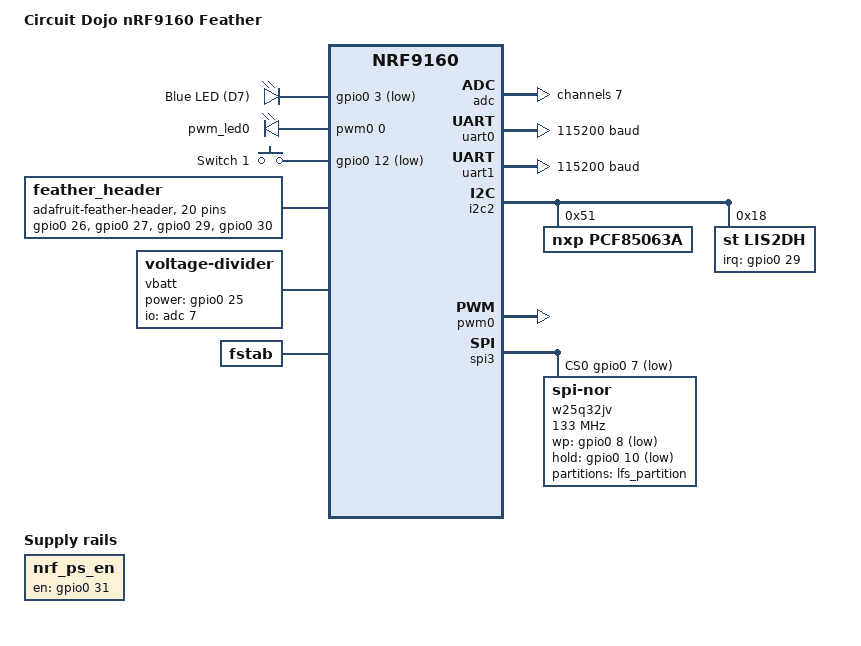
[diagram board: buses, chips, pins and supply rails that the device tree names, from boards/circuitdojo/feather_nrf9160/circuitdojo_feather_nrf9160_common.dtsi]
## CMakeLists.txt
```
#
# Copyright (c) 2020 Nordic Semiconductor
#
# SPDX-License-Identifier: LicenseRef-Nordic-5-Clause
#

cmake_minimum_required(VERSION 3.20.0)

set(CMAKE_EXPORT_COMPILE_COMMANDS ON)

find_package(Zephyr REQUIRED HINTS $ENV{ZEPHYR_BASE})
project(https_client)

# Generate hex files from pem files
set(gen_dir ${CMAKE_CURRENT_BINARY_DIR}/certs)
zephyr_include_directories(${gen_dir})
generate_inc_file_for_target(
    app
    cert/ngens.pem
    ${gen_dir}/ngens.pem.inc   #loaded with google cert
    # cert/webhook_RootCA.pem
    # ${gen_dir}/webhook_RootCA.pem.inc   #loaded with google cert
    )

FILE(GLOB app_sources src/*.c src/*.h)
target_sources(app PRIVATE ${app_sources})
```

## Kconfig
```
#
# Copyright (c) 2021 Nordic Semiconductor ASA
#
# SPDX-License-Identifier: LicenseRef-Nordic-5-Clause
#

menu "HTTPS client sample"

config WATCHDOG_APPLICATION_TIMEOUT_SEC
	int "Application watchdog timeout in seconds"
	default 10
	help 
	  Should be more than 1 second

config SAMPLE_TFM_MBEDTLS
	bool "Use TF-M and MbedTLS"
	depends on NRF_MODEM_LIB
	help
	  Use TF-M and MbedTLS in this sample instead of using
	  the offloaded TLS stack in the modem.
	  
endmenu

menu "Zephyr Kernel"
source "Kconfig.zephyr"
endmenu
```

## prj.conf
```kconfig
# General
CONFIG_HEAP_MEM_POOL_SIZE=4096
CONFIG_MAIN_STACK_SIZE=10240
CONFIG_GPIO=y
CONFIG_ADC=y

# UART
CONFIG_SERIAL=y
CONFIG_UART_INTERRUPT_DRIVEN=y

# Logging
CONFIG_PRINTK=y
CONFIG_LOG=y
CONFIG_LOG_DEFAULT_LEVEL=3
CONFIG_LOG_BUFFER_SIZE=10240
CONFIG_LOG_BACKEND_UART=y

# Network
CONFIG_NETWORKING=y
CONFIG_NET_SOCKETS=y
CONFIG_POSIX_API=y
CONFIG_NET_IPV4=y
CONFIG_NET_IPV6=y
CONFIG_NET_NATIVE=n
CONFIG_PDN_DEFAULTS_OVERRIDE=y
CONFIG_PDN_DEFAULT_FAM_IPV4=y

CONFIG_REBOOT=y

CONFIG_DATE_TIME=y

# eDRX settings 
# CONFIG_LTE_LC_EDRX_MODULE=y
# CONFIG_LTE_EDRX_REQ=y
# CONFIG_LTE_EDRX_REQ_VALUE_LTE_M="0100"
# CONFIG_LTE_PTW_VALUE_LTE_M="0011"

# LTE link control
CONFIG_LTE_LINK_CONTROL=y

CONFIG_WATCHDOG=y

# Modem library
CONFIG_NRF_MODEM_LIB=y

# Modem info
CONFIG_MODEM_INFO=y

CONFIG_MODEM_KEY_MGMT=y

CONFIG_FLASH=y
CONFIG_IMG_MANAGER=y
CONFIG_STREAM_FLASH=y
CONFIG_FLASH_MAP=y
CONFIG_FLASH_LOG_LEVEL_DBG=y
CONFIG_IMG_ERASE_PROGRESSIVELY=y
CONFIG_MPU_ALLOW_FLASH_WRITE=y

# ------------------- NRF FOTA library ------------------ #
# Download client
CONFIG_DOWNLOADER=y
CONFIG_DOWNLOADER_STACK_SIZE=4096
CONFIG_DOWNLOAD_CLIENT=n
# CONFIG_DOWNLOAD_CLIENT=y
CONFIG_DOWNLOAD_CLIENT_STACK_SIZE=4096
CONFIG_FOTA_DOWNLOAD=y
CONFIG_DFU_TARGET=y
CONFIG_ZCBOR=y
# Disable all non-used crypto
CONFIG_OBERON_BACKEND=y
CONFIG_NORDIC_SECURITY_BACKEND=y
CONFIG_MBEDTLS_AES_C=n
CONFIG_MBEDTLS_CHACHA20_C=n
CONFIG_MBEDTLS_POLY1305_C=n
CONFIG_MBEDTLS_ECP_C=n
CONFIG_MBEDTLS_RSA_C=n
CONFIG_MBEDTLS_DHM_C=n
CONFIG_MBEDTLS_SHA1_C=n
CONFIG_MBEDTLS_SHA384_C=n
CONFIG_MBEDTLS_SHA512_C=n
CONFIG_MBEDTLS_GCM_C=n
# This is the one we need
CONFIG_MBEDTLS_SHA256_C=y
# Prevalidation is not yet supported by the modem firmware
CONFIG_FMFU_FDEV_SKIP_PREVALIDATION=y

# Application Upgrade support
CONFIG_BOOTLOADER_MCUBOOT=y
CONFIG_MCUBOOT_UTIL_LOG_LEVEL_WRN=y
```

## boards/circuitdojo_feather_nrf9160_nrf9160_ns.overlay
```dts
&pinctrl {
	/* USB-C is UART0 */
	uart0_default: uart0_default {
		group1 {
			/* configure P0.06 as UART_TX and P0.5 as UART_RX */
			psels = <NRF_PSEL(UART_TX, 0, 6)>, <NRF_PSEL(UART_RX, 0, 5)>;
		};
	};
	uart0_sleep: uart0_sleep {
		group1 {
			/* configure P0.06 as UART_TX and P0.5 as UART_RX */
			psels = <NRF_PSEL(UART_TX, 0, 6)>, <NRF_PSEL(UART_RX, 0, 5)>;
		};
		/* all pins are configured in low power mode */
        low-power-enable;
	};

	/* RG-15 is UART1 */
	uart1_default: uart1_default {
		group1 {
			/* configure P0.24 as UART_TX and P0.23 as UART_RX */
			psels = <NRF_PSEL(UART_TX, 0, 24)>, <NRF_PSEL(UART_RX, 0, 23)>;
		};
	};
	uart1_sleep: uart1_sleep {
		group1 {
			/* configure P0.24 as UART_TX and P0.23 as UART_RX */
			psels = <NRF_PSEL(UART_TX, 0, 24)>, <NRF_PSEL(UART_RX, 0, 23)>;
		};
		low-power-enable;
	};
};

&adc {
	status = "okay";
};

&gpio0 {
	status = "okay";
};

/* USB-C is UART0 */
&uart0 {
	compatible = "nordic,nrf-uarte";
	status = "okay";
	current-speed = < 115200 >;
	pinctrl-0 = < &uart0_default >;
	pinctrl-1 = < &uart0_sleep >;
	pinctrl-names = "default", "sleep";
};

/* RG-15 is UART1 */
&uart1 {
	compatible = "nordic,nrf-uarte";
	status = "okay";
	current-speed = < 9600 >;
	pinctrl-0 = < &uart1_default >;
	pinctrl-1 = < &uart1_sleep >;
	pinctrl-names = "default", "sleep";
};
```

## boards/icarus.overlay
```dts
&sim_select {
	sim = "external";
};

&uart1 {
	current-speed = < 9600 >;
};

&gpio0 {
	status = "okay";
};

&uart0 {
	status = "okay";
};
```

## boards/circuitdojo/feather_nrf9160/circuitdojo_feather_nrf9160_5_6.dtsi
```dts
/*
 * Copyright (c) 2024 Circuit Dojo LLC
 *
 * SPDX-License-Identifier: Apache-2.0
 */

/ {

	leds {
		compatible = "gpio-leds";
		blue_led: led_0 {
			gpios = <&gpio0 3 GPIO_ACTIVE_HIGH>;
			label = "Blue LED (D7)";
		};
	};

	/delete-node/ nrf-ps-en;
};
```

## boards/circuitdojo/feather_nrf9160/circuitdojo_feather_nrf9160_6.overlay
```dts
/*
 * Copyright (c) 2024 Circuit Dojo LLC
 *
 * SPDX-License-Identifier: Apache-2.0
 */

#include "circuitdojo_feather_nrf9160_5_6.dtsi"
```

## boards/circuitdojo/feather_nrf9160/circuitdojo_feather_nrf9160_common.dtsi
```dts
/*
 * Copyright (c) 2018-2020 Nordic Semiconductor ASA
 * Copyright (c) 2020 Circuit Dojo LLC
 *
 * SPDX-License-Identifier: Apache-2.0
 */
#include "circuitdojo_feather_nrf9160_common-pinctrl.dtsi"
#include <zephyr/dt-bindings/input/input-event-codes.h>

/ {
	model = "Circuit Dojo nRF9160 Feather";
	compatible = "circuitdojo,feather-nrf9160";

	chosen {
		zephyr,console = &uart0;
		zephyr,shell-uart = &uart0;
		zephyr,uart-mcumgr = &uart0;
		nordic,modem-trace-uart = &uart1;
		nordic,pm-ext-flash = &w25q32jv;
	};

	leds {
		compatible = "gpio-leds";
		blue_led: led_0 {
			gpios = <&gpio0 3 GPIO_ACTIVE_LOW>;
			label = "Blue LED (D7)";
		};
	};

	pwmleds {
		compatible = "pwm-leds";
		pwm_led0: pwm_led_0 {
			pwms = <&pwm0 0 PWM_MSEC(20) PWM_POLARITY_INVERTED>;
		};
	};

	buttons {
		compatible = "gpio-keys";
		button0: button_0 {
			gpios = <&gpio0 12 (GPIO_PULL_UP | GPIO_ACTIVE_LOW)>;
			label = "Switch 1";
			zephyr,code = <INPUT_KEY_0>;
		};
	};

	/* These aliases are provided for compatibility with samples */
	aliases {
		led0 = &blue_led;
		pwm-led0 = &pwm_led0;
		sw0 = &button0;
		mcuboot-button0 = &button0;
		mcuboot-led0 = &blue_led;
		watchdog0 = &wdt0;
		spi-flash0 = &w25q32jv;
		ext-flash = &w25q32jv;
		accel0 = &lis2dh;
		rtc0 = &pcf85063a;
	};

	/* Used for accessing other pins */
	feather_header: feather_connector {
		compatible = "adafruit-feather-header";
		#gpio-cells = <2>;
		gpio-map-mask = <0xffffffff 0xffffffc0>;
		gpio-map-pass-thru = <0 0x3f>;
		gpio-map = <12 0 &gpio0 26 0>,  /* SDA */
		<13 0 &gpio0 27 0>,  /* SCL */
		<14 0 &gpio0 29 0>,  /* PWM3 */
		<15 0 &gpio0 30 0>,  /* PWM3 */
		<16 0 &gpio0 0 0>,   /* PWM1 */
		<17 0 &gpio0 1 0>,   /* PWM1 */
		<18 0 &gpio0 2 0>,   /* PWM1 */
		<19 0 &gpio0 3 0>,   /* PWM0 */
		<20 0 &gpio0 4 0>,   /* PWM1 */
		/* 11 not connected */
		<10 0 &gpio0 24 0>,  /* TX */
		<9 0 &gpio0 23 0>,   /* RX */
		<8 0 &gpio0 22 0>,   /* MISO */
		<7 0 &gpio0 21 0>,   /* MOSI */
		<6 0 &gpio0 19 0>,   /* SCK */
		<5 0 &gpio0 18 0>,   /* SS */
		<4 0 &gpio0 17 0>,   /* ADC4 = AIN6 */
		<3 0 &gpio0 16 0>,   /* ADC3 = AIN5 */
		<2 0 &gpio0 15 0>,   /* ADC2 = AIN4 */
		<1 0 &gpio0 14 0>,   /* ADC1 = AIN2 */
		<0 0 &gpio0 13 0>;   /* ADC0 = AIN1 */
	};

	nrf-ps-en {
		compatible = "regulator-fixed";
		regulator-name = "nrf_ps_en";
		enable-gpios = <&gpio0 31 GPIO_ACTIVE_HIGH>;
		regulator-boot-on;
	};

	vbatt: vbatt {
		compatible = "voltage-divider";
		io-channels = <&adc 7>;
		output-ohms = <100000>;
		full-ohms = <(100000 + 100000)>;
		power-gpios = <&gpio0 25 GPIO_ACTIVE_HIGH>;
	};

	fstab {
		compatible = "zephyr,fstab";
		lfs: lfs {
			compatible = "zephyr,fstab,littlefs";
			mount-point = "/lfs";
			partition = <&lfs_partition>;
			read-size = <16>;
			prog-size = <16>;
			cache-size = <64>;
			lookahead-size = <32>;
			block-cycles = <512>;
			automount;
		};
	};
};

&adc {
	status = "okay";
	#address-cells = <1>;
	#size-cells = <0>;

	channel@7 {
		reg = <0x7>;
		zephyr,gain = "ADC_GAIN_1_6";
		zephyr,reference = "ADC_REF_INTERNAL";
		zephyr,acquisition-time = <ADC_ACQ_TIME_DEFAULT>;
		zephyr,input-positive = <NRF_SAADC_AIN7>;
		zephyr,resolution = <12>;
		zephyr,vref-mv = <3300>;
	};
};

&gpiote {
	status = "okay";
};

&gpio0 {
	status = "okay";
};

&uart0 {
	status = "okay";
	current-speed = <115200>;
	pinctrl-0 = <&uart0_default>;
	pinctrl-1 = <&uart0_sleep>;
	pinctrl-names = "default", "sleep";
};

&uart1 {
	current-speed = <115200>;
	pinctrl-0 = <&uart1_default>;
	pinctrl-1 = <&uart1_sleep>;
	pinctrl-names = "default", "sleep";
};

&i2c2 {
	compatible = "nordic,nrf-twim";
	status = "okay";

	pinctrl-0 = <&i2c2_default>;
	pinctrl-1 = <&i2c2_sleep>;
	pinctrl-names = "default", "sleep";

	pcf85063a: pcf85063a@51 {
		compatible = "nxp,pcf85063a";
		reg = <0x51>;
	};

	lis2dh: lis2dh@18 {
		compatible = "st,lis2dh";
		reg = <0x18>;
		irq-gpios = <&gpio0 29 GPIO_ACTIVE_HIGH>;
		disconnect-sdo-sa0-pull-up;
	};

};

&pwm0 {
	status = "okay";
	pinctrl-0 = <&pwm0_default>;
	pinctrl-1 = <&pwm0_sleep>;
	pinctrl-names = "default", "sleep";
};

&spi3 {
	compatible = "nordic,nrf-spim";
	status = "okay";
	cs-gpios = <&gpio0 7 GPIO_ACTIVE_LOW>;
	pinctrl-0 = <&spi3_default>;
	pinctrl-1 = <&spi3_sleep>;
	pinctrl-names = "default", "sleep";
	w25q32jv: w25q32jv@0 {
		compatible = "jedec,spi-nor";
		reg = <0>;
		spi-max-frequency = <133000000>;
		wp-gpios = <&gpio0 8 GPIO_ACTIVE_LOW>;
		hold-gpios = <&gpio0 10 GPIO_ACTIVE_LOW>;
		size = <0x400000>;
		has-dpd;
		t-enter-dpd = <30000>;
		t-exit-dpd = <30000>;
		jedec-id = [ ef 40 16  ];
		partitions {
			compatible = "fixed-partitions";
			#address-cells = <1>;
			#size-cells = <1>;

			lfs_partition: partition@0 {
				label = "lfs_partition";
				reg = <0x00000000 DT_SIZE_M(4)>;
			};
		};
	};
};

&flash0 {

	partitions {
		compatible = "fixed-partitions";
		#address-cells = <1>;
		#size-cells = <1>;

		boot_partition: partition@0 {
			label = "mcuboot";
			reg = <0x00000000 0x10000>;
		};
		slot0_partition: partition@10000 {
			label = "image-0";
		};
		slot0_ns_partition: partition@50000 {
			label = "image-0-nonsecure";
		};
		slot1_partition: partition@80000 {
			label = "image-1";
		};
		slot1_ns_partition: partition@c0000 {
			label = "image-1-nonsecure";
		};
		/* 0xf0000 to 0xf7fff reserved for TF-M partitions */
		storage_partition: partition@f8000 {
			label = "storage";
			reg = <0x000f8000 0x00008000>;
		};
	};
};

/ {

	reserved-memory {
		#address-cells = <1>;
		#size-cells = <1>;
		ranges;

		sram0_s: image_s@20000000 {
			/* Secure image memory */
		};

		sram0_modem: image_modem@20016000 {
			/* Modem (shared) memory */
		};

		sram0_ns: image_ns@20020000 {
			/* Non-Secure image memory */
		};
	};
};

/* Include partition configuration file */
#include "circuitdojo_feather_nrf9160_partition_conf.dtsi"
```

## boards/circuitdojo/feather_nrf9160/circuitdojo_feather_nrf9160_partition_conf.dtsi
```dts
/*
 * Copyright (c) 2018-2020 Nordic Semiconductor ASA
 * Copyright (c) 2020 Circuit Dojo LLC
 *
 * SPDX-License-Identifier: Apache-2.0
 */

/*
 * Default Flash planning for circuitdojo_feather_nrf9160.
 *
 * Zephyr build for nRF9160 with ARM TrustZone-M support,
 * implies building Secure and Non-Secure Zephyr images.
 *
 * Secure image will be placed, by default, in flash0
 * (or in slot0, if MCUboot is present).
 * Secure image will use sram0 for system memory.
 *
 * Non-Secure image will be placed in slot0_ns, and use
 * sram0_ns for system memory.
 *
 * Note that the Secure image only requires knowledge of
 * the beginning of the Non-Secure image (not its size).
 */

&slot0_partition {
	reg = <0x00010000 0x40000>;
};

&slot0_ns_partition {
	reg = <0x00050000 0x30000>;
};

&slot1_partition {
	reg = <0x00080000 0x40000>;
};

&slot1_ns_partition {
	reg = <0x000c0000 0x30000>;
};

/* Default SRAM planning when building for nRF9160 with
 * ARM TrustZone-M support
 * - Lowest 64 kB SRAM allocated to Secure image (sram0_s).
 * - 64 kB SRAM reserved for and used by the BSD socket
 *   library (sram0_bsd).
 * - Upper 128 kB allocated to Non-Secure image (sram0_ns).
 */

 &sram0_s {
	reg = <0x20000000 DT_SIZE_K(88)>;
};

&sram0_modem {
	reg = <0x20016000 DT_SIZE_K(40)>;
};

&sram0_ns {
	reg = <0x20020000 DT_SIZE_K(128)>;
};
```

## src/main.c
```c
#include <helpers/nrfx_reset_reason.h>
#include <stdio.h>
#include <stdlib.h>
#include <string.h>
#include <zephyr/device.h>
#include <zephyr/drivers/gpio.h>
#include <zephyr/kernel.h>

#include "battery.h"
#include "data_acq.h"
#include "https_handler.h"
#include "uart_handler.h"

#define UART_THREAD_STACK_SIZE     2 * 1024
#define CONSOLE_THREAD_STACK_SIZE  10 * 1024
#define HTTPS_THREAD_STACK_SIZE    10 * 1024
#define DATA_ACQ_THREAD_STACK_SIZE 10 * 1024

K_THREAD_STACK_DEFINE(uart_thread_stack, UART_THREAD_STACK_SIZE);
K_THREAD_STACK_DEFINE(https_thread_stack, HTTPS_THREAD_STACK_SIZE);
K_THREAD_STACK_DEFINE(data_acq_thread_stack, DATA_ACQ_THREAD_STACK_SIZE);
K_THREAD_STACK_DEFINE(console_thread_stack, CONSOLE_THREAD_STACK_SIZE);
K_THREAD_STACK_DEFINE(watchdog_thread_area, 4096);

static struct k_thread uart_thread;
static struct k_thread https_thread;
static struct k_thread data_acq_thread;
static struct k_thread watchdog_thread_data;
static struct k_thread console_thread;

/* Stores last reset reason string */
char reset_reason_str[128];

extern void uart_thread_entry(void *, void *, void *);
extern void https_thread_entry(void *, void *, void *);
extern void data_acq_entry(void *, void *, void *);
extern void watchdog_feeder_thread(void *, void *, void *);
extern void console_thread_entry(void *, void *, void *);

extern const struct device *const my_uart1;

static void reset_reason_str_get(char *str, uint32_t reason) {
        size_t len;

        *str = '\0';

        if (reason & NRFX_RESET_REASON_RESETPIN_MASK) {
                (void)strcat(str, "PIN reset | ");
        }
        if (reason & NRFX_RESET_REASON_DOG_MASK) {
                (void)strcat(str, "watchdog | ");
        }
        if (reason & NRFX_RESET_REASON_OFF_MASK) {
                (void)strcat(str, "wakeup from power-off | ");
        }
        if (reason & NRFX_RESET_REASON_DIF_MASK) {
                (void)strcat(str, "debug interface wakeup | ");
        }
        if (reason & NRFX_RESET_REASON_SREQ_MASK) {
                (void)strcat(str, "software | ");
        }
        if (reason & NRFX_RESET_REASON_LOCKUP_MASK) {
                (void)strcat(str, "CPU lockup | ");
        }
        if (reason & NRFX_RESET_REASON_CTRLAP_MASK) {
                (void)strcat(str, "control access port | ");
        }

        len = strlen(str);
        if (len == 0) {
                (void)strcpy(str, "power-on reset");
        } else {
                str[len - 3] = '\0';
        }
}

static void print_reset_reason(void) {
        uint32_t reset_reason;

        /* Read RESETREAS register value and clear current reset reason(s). */
        reset_reason = nrfx_reset_reason_get();

        /* Reset reason can only be read once */
        nrfx_reset_reason_clear(reset_reason);

        reset_reason_str_get(reset_reason_str, reset_reason);

        printk("\nReset reason: %s\n", reset_reason_str);
}

int main(void) {
        int ret;

        /* Also loads the reset reason string into the buffer */
        print_reset_reason();

        /* Initialize the RG-15 UART */
        ret = uart_init(my_uart1);
        if (ret != 0) {
                printk("uart_init FATAL ERROR!\n");
                return -1;
        }

        /* Initialize HTTPS Client */
        ret = https_init();
        if (ret != 0) {
                printk("https_init FATAL ERROR\n");
                return -1;
        }

        /* Initialize battery measurement */
        ret = init_adc();
        if (ret == 0) {
                printk("battery_init FATAL ERROR\n");
                return -1;
        }

        /* Initialize data acquisition */
        ret = data_acq_init();
        if (ret != 0) {
                printk("data_acq_init FATAL ERROR\n");
                return -1;
        }

        /* Start UART thread */
        k_thread_create(&uart_thread,
                        uart_thread_stack,
                        K_THREAD_STACK_SIZEOF(uart_thread_stack),
                        uart_thread_entry,
                        NULL,
                        NULL,
                        NULL,
                        6,
                        0,
                        K_NO_WAIT);

	/* Start console thread */
        k_thread_create(&console_thread,
                        console_thread_stack,
                        K_THREAD_STACK_SIZEOF(console_thread_stack),
                        console_thread_entry,
                        NULL,
                        NULL,
                        NULL,
                        9,
                        0,
                        K_NO_WAIT);

        /* Start HTTPS thread */
        k_thread_create(&https_thread,
                        https_thread_stack,
                        K_THREAD_STACK_SIZEOF(https_thread_stack),
                        https_thread_entry,
                        NULL,
                        NULL,
                        NULL,
                        7,
                        0,
                        K_NO_WAIT);

        /* Start Data acq thread */
        k_thread_create(&data_acq_thread,
                        data_acq_thread_stack,
                        K_THREAD_STACK_SIZEOF(data_acq_thread_stack),
                        data_acq_entry,
                        NULL,
                        NULL,
                        NULL,
                        5,
                        0,
                        K_NO_WAIT);

        k_thread_create(&watchdog_thread_data,
                        watchdog_thread_area,
                        K_THREAD_STACK_SIZEOF(watchdog_thread_area),
                        watchdog_feeder_thread,
                        NULL,
                        NULL,
                        NULL,
                        8,
                        0,
                        K_NO_WAIT);
        while (1) {
                k_sleep(K_FOREVER);
        }
}
```

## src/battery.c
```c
#include "battery.h"

#include <zephyr/drivers/adc.h>
#include <zephyr/drivers/gpio.h>

#define ADC_NODE DT_NODELABEL(adc)
static int16_t m_sample_buffer[BUFFER_SIZE];
static const struct device *adc_dev;

static const struct device *gpio_dev = DEVICE_DT_GET(DT_NODELABEL(gpio0));

static const struct adc_channel_cfg m_1st_channel_cfg = {
    .gain             = ADC_GAIN,
    .reference        = ADC_REFERENCE,
    .acquisition_time = ADC_ACQUISITION_TIME,
    .channel_id       = ADC_1ST_CHANNEL_ID,
    .input_positive   = ADC_1ST_CHANNEL_INPUT,
};

int get_battery_voltage(uint16_t *battery_voltage) {
        int err;
        const struct adc_sequence sequence = {
            .channels    = BIT(ADC_1ST_CHANNEL_ID),
            .buffer      = m_sample_buffer,
            .buffer_size = sizeof(m_sample_buffer), // in bytes!
            .resolution  = ADC_RESOLUTION,
        };

        if (!adc_dev) {
                return -1;
        }

        err = adc_read(adc_dev, &sequence); // THIS IS IT !!
        if (err) {
                printk("ADC read err: %d\n", err);
                return err;
        }

        float sample_value = 0;
        for (int i = 0; i < BUFFER_SIZE; i++) {
                sample_value += (float)m_sample_buffer[i];
        }
        sample_value /= BUFFER_SIZE;

        *battery_voltage = (uint16_t)(sample_value * (INPUT_VOLT_RANGE / VALUE_RANGE_10_BIT) *
                                      ((BATVOLT_R1 + BATVOLT_R2) / BATVOLT_R2));

        return 0;
}

bool init_adc(void) {
        int err;

        gpio_pin_configure(gpio_dev, 25, GPIO_OUTPUT_ACTIVE);

        adc_dev = DEVICE_DT_GET(ADC_NODE);
        if (!adc_dev) {
                printk("Error getting adc failed\n");
                return false;
        }

        err = adc_channel_setup(adc_dev, &m_1st_channel_cfg);
        if (err) {
                printk("Error in adc setup: %d\n", err);
                return false;
        }
        return true;
}

// #include <math.h>
// #include <stdio.h>
// #include <stdlib.h>

// #include <zephyr/kernel.h>
// #include <zephyr/init.h>
// #include <zephyr/drivers/gpio.h>
// #include <zephyr/drivers/adc.h>
// #include <zephyr/drivers/sensor.h>
// #include <zephyr/logging/log.h>

// #include "battery.h"

// LOG_MODULE_REGISTER(BATTERY, CONFIG_ADC_LOG_LEVEL);

// #define VBATT DT_PATH(vbatt)
// #define ZEPHYR_USER DT_PATH(zephyr_user)

// #ifdef CONFIG_BOARD_THINGY52_NRF52832
// /* This board uses a divider that reduces max voltage to
//  * reference voltage (600 mV).
//  */
// #define BATTERY_ADC_GAIN ADC_GAIN_1
// #else
// /* Other boards may use dividers that only reduce battery voltage to
//  * the maximum supported by the hardware (3.6 V)
//  */
// #define BATTERY_ADC_GAIN ADC_GAIN_1_6
// #endif

// struct io_channel_config
// {
// 	uint8_t channel;
// };

// struct divider_config
// {
// 	struct io_channel_config io_channel;
// 	struct gpio_dt_spec power_gpios;
// 	/* output_ohm is used as a flag value: if it is nonzero then
// 	 * the battery is measured through a voltage divider;
// 	 * otherwise it is assumed to be directly connected to Vdd.
// 	 */
// 	uint32_t output_ohm;
// 	uint32_t full_ohm;
// };

// static const struct divider_config divider_config = {
// #if DT_NODE_HAS_STATUS_OKAY(VBATT)
// 	.io_channel = {
// 		DT_IO_CHANNELS_INPUT(VBATT),
// 	},
// 	.power_gpios = GPIO_DT_SPEC_GET_OR(VBATT, power_gpios, {}),
// 	.output_ohm = DT_PROP(VBATT, output_ohms),
// 	.full_ohm = DT_PROP(VBATT, full_ohms),
// #else  /* /vbatt exists */
// 	.io_channel = {
// 		DT_IO_CHANNELS_INPUT(ZEPHYR_USER),
// 	},
// #endif /* /vbatt exists */
// };

// struct divider_data
// {
// 	const struct device *adc;
// 	struct adc_channel_cfg adc_cfg;
// 	struct adc_sequence adc_seq;
// 	int16_t raw;
// };

// static struct divider_data divider_data = {
// #if DT_NODE_HAS_STATUS_OKAY(VBATT)
// 	.adc = DEVICE_DT_GET(DT_IO_CHANNELS_CTLR(VBATT)),
// #else
// 	.adc = DEVICE_DT_GET(DT_IO_CHANNELS_CTLR(ZEPHYR_USER)),
// #endif
// };

// static int divider_setup(void)
// {
// 	const struct divider_config *cfg = &divider_config;
// 	const struct io_channel_config *iocp = &cfg->io_channel;
// 	const struct gpio_dt_spec *gcp = &cfg->power_gpios;
// 	struct divider_data *ddp = &divider_data;
// 	struct adc_sequence *asp = &ddp->adc_seq;
// 	struct adc_channel_cfg *accp = &ddp->adc_cfg;
// 	int rc;

// 	if (!device_is_ready(ddp->adc))
// 	{
// 		LOG_ERR("ADC device is not ready %s", ddp->adc->name);
// 		return -ENOENT;
// 	}

// 	if (gcp->port)
// 	{
// 		if (!device_is_ready(gcp->port))
// 		{
// 			LOG_ERR("%s: device not ready", gcp->port->name);
// 			return -ENOENT;
// 		}
// 		rc = gpio_pin_configure_dt(gcp, GPIO_OUTPUT_INACTIVE);
// 		if (rc != 0)
// 		{
// 			LOG_ERR("Failed to control feed %s.%u: %d",
// 					gcp->port->name, gcp->pin, rc);
// 			return rc;
// 		}
// 	}

// 	*asp = (struct adc_sequence){
// 		.channels = BIT(0),
// 		.buffer = &ddp->raw,
// 		.buffer_size = sizeof(ddp->raw),
// 		.oversampling = 4,
// 		.calibrate = true,
// 	};

// #ifdef CONFIG_ADC_NRFX_SAADC
// 	*accp = (struct adc_channel_cfg){
// 		.gain = BATTERY_ADC_GAIN,
// 		.reference = ADC_REF_INTERNAL,
// 		.acquisition_time = ADC_ACQ_TIME(ADC_ACQ_TIME_MICROSECONDS, 40),
// 	};

// 	if (cfg->output_ohm != 0)
// 	{
// 		accp->input_positive = SAADC_CH_PSELP_PSELP_AnalogInput0 + iocp->channel;
// 	}
// 	else
// 	{
// 		accp->input_positive = SAADC_CH_PSELP_PSELP_VDD;
// 	}

// 	asp->resolution = 14;
// #else /* CONFIG_ADC_var */
// #error Unsupported ADC
// #endif /* CONFIG_ADC_var */

// 	rc = adc_channel_setup(ddp->adc, accp);
// 	LOG_INF("Setup AIN%u got %d", iocp->channel, rc);

// 	return rc;
// }

// static bool battery_ok;

// static int battery_setup(void)
// {
// 	int rc = divider_setup();

// 	battery_ok = (rc == 0);
// 	LOG_INF("Battery setup: %d %d", rc, battery_ok);
// 	return rc;
// }

// SYS_INIT(battery_setup, APPLICATION, CONFIG_APPLICATION_INIT_PRIORITY);

// int battery_measure_enable(bool enable)
// {
// 	int rc = -ENOENT;

// 	if (battery_ok)
// 	{
// 		const struct gpio_dt_spec *gcp = &divider_config.power_gpios;

// 		rc = 0;
// 		if (gcp->port)
// 		{
// 			rc = gpio_pin_set_dt(gcp, enable);
// 		}
// 	}
// 	return rc;
// }

// int battery_sample(void)
// {
// 	int rc = -ENOENT;

// 	if (battery_ok)
// 	{
// 		struct divider_data *ddp = &divider_data;
// 		const struct divider_config *dcp = &divider_config;
// 		struct adc_sequence *sp = &ddp->adc_seq;

// 		rc = adc_read(ddp->adc, sp);
// 		sp->calibrate = false;
// 		if (rc == 0)
// 		{
// 			int32_t val = ddp->raw;

// 			adc_raw_to_millivolts(adc_ref_internal(ddp->adc),
// 								  ddp->adc_cfg.gain,
// 								  sp->resolution,
// 								  &val);

// 			if (dcp->output_ohm != 0)
// 			{
// 				rc = val * (uint64_t)dcp->full_ohm / dcp->output_ohm;
// 				LOG_INF("raw %u ~ %u mV => %d mV\n", ddp->raw, val, rc);
// 			}
// 			else
// 			{
// 				rc = val;
// 				LOG_INF("raw %u ~ %u mV\n", ddp->raw, val);
// 			}
// 		}
// 	}
// 	return rc;
// }

// int battery_init(void)
// {
// 	int rc = battery_measure_enable(true);
// 	if (rc != 0)
// 	{
// 		printk("Failed initialize battery measurement: %d\n", rc);
// 		return 0;
// 	}

// 	int batt_mV = battery_sample();
// 	if (batt_mV < 0)
// 	{
// 		printk("Failed to read battery voltage: %d\n", batt_mV);
// 	}

// 	printk("%d mV\n", batt_mV);
// 	return rc;
// }
```

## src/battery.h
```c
#ifndef BATTERY_H
#define BATTERY_H

#include <stdbool.h>
#include <stdint.h>

#define BATVOLT_R1            (float)100  // KOhm
#define BATVOLT_R2            (float)100  // KOhm
#define INPUT_VOLT_RANGE      (float)3.6   // Volts
#define VALUE_RANGE_10_BIT    (float)1.023 // (2^10 - 1) / 1000

#define ADC_RESOLUTION        10
#define ADC_GAIN              ADC_GAIN_1_6
#define ADC_REFERENCE         ADC_REF_INTERNAL
#define ADC_ACQUISITION_TIME  ADC_ACQ_TIME(ADC_ACQ_TIME_MICROSECONDS, 10)
#define ADC_1ST_CHANNEL_ID    7
#define ADC_1ST_CHANNEL_INPUT SAADC_CH_PSELP_PSELP_AnalogInput7

#define BUFFER_SIZE           1

int get_battery_voltage(uint16_t *battery_voltage);

bool init_adc(void);

#endif // BATTERY_H
```

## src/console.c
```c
#include "console.h"

#include <ctype.h>
#include <math.h>
#include <stdbool.h>
#include <stdint.h>
#include <stdio.h>
#include <string.h>
#include <zephyr/device.h>
#include <zephyr/drivers/gpio.h>
#include <zephyr/drivers/uart.h>
#include <zephyr/kernel.h>
#include <zephyr/sys/printk.h>
#include <zephyr/sys/reboot.h>

#define UART_DEVICE_NODE DT_CHOSEN(zephyr_shell_uart)

K_MSGQ_DEFINE(console_msgq, CONSOLE_MSG_SIZE, 10, 4);

static const struct device *const console_dev = DEVICE_DT_GET(UART_DEVICE_NODE);

typedef struct {
        const char *name;
        void (*function)(char *buf, char *response);
} command_t;

static int console_rx_buf_pos;
static char console_rx_buf[CONSOLE_MSG_SIZE];

static void command_sensor_ok(char *buf, char *response);
static void command_sensor_reboot(char *buf, char *response);

command_t const sensor_console_commands[] = {
    {"CMD_SENSOR_OK",     command_sensor_ok    },
    {"CMD_SENSOR_REBOOT", command_sensor_reboot},
    {NULL,                NULL                 }
};

void console_rx_cb(const struct device *dev, void *user_buf) {
        uint8_t c;

        if (!uart_irq_update(console_dev)) {
                return;
        }

        if (!uart_irq_rx_ready(console_dev)) {
                return;
        }

        /* read until FIFO empty */
        while (uart_fifo_read(console_dev, &c, 1) == 1) {
                if ((c == '\n' || c == '\r') && console_rx_buf_pos > 0) {
                        /* terminate string */
                        console_rx_buf[console_rx_buf_pos] = '\0';

                        /* if queue is full, message is silently dropped */
                        k_msgq_put(&console_msgq, &console_rx_buf, K_NO_WAIT);

                        /* reset the buffer (it was copied to the msgq) */
                        console_rx_buf_pos = 0;
                } else if (console_rx_buf_pos < (sizeof(console_rx_buf) - 1)) {
                        console_rx_buf[console_rx_buf_pos++] = c;
                }
                /* else: characters beyond buffer size are dropped */
        }
}

static void exec_console_command(const char *buf) {
        if (buf == NULL) {
                return;
        }
        if ((strlen(buf) == 1) && (*buf == '\n' || *buf == '\r')) {
                return;
        }

        char cmd[CONSOLE_MSG_SIZE];
        char cmd_response[CONSOLE_MSG_SIZE] = {0};
        int idx                             = 0;
        int command_found                   = 0;

        while (*buf != '\0') {
                if (*buf != '\n') {
                        cmd[idx] = *buf;
                        idx++;
                }
                buf++;
        }
        cmd[idx] = '\0';

        for (int i = 0; sensor_console_commands[i].name != NULL; i++) {
                if (strstr(cmd, sensor_console_commands[i].name) != NULL) {
                        /* command matched */
                        (*sensor_console_commands[i].function)(cmd, cmd_response);
                        command_found = 1;
                        break;
                }
        }
        if (!command_found) {
                /* inavlid command */
                printk("Invalid sensor command!\n");
                snprintf(cmd_response, CONSOLE_MSG_SIZE, "%s", "Invalid sensor command!\n");
                return;
        }
        printk("%s\n", cmd_response);
}

void console_queue_command(const char *buf) {
        k_msgq_put(&console_msgq, buf, K_NO_WAIT);
}

static void command_sensor_ok(char *buf, char *response) {
        printk("Sensor is OK\n");
}

static void command_sensor_reboot(char *buf, char *response) {
        sys_reboot(SYS_REBOOT_COLD);
}

void console_thread_entry(void *a, void *b, void *c) {
        char buf[CONSOLE_MSG_SIZE];

        if (!device_is_ready(console_dev)) {
                printk("UART device not found!");
                return;
        }

        /* configure interrupt and callback to receive buf */
        int ret = uart_irq_callback_user_data_set(console_dev, console_rx_cb, NULL);

        if (ret < 0) {
                if (ret == -ENOTSUP) {
                        printk("Interrupt-driven UART API support not enabled\n");
                } else if (ret == -ENOSYS) {
                        printk("UART device does not support interrupt-driven API\n");
                } else {
                        printk("Error setting UART callback: %d\n", ret);
                }
                return;
        }
        uart_irq_rx_enable(console_dev);

        printk("Console thread started!\n");

        while (1) {

                /* indefinitely wait for input from the user */
                while (k_msgq_get(&console_msgq, &buf, K_FOREVER) == 0) {
                        exec_console_command(buf);
                }
        }
}
```

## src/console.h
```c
#ifndef CONSOLE_H__
#define CONSOLE_H__

#define CONSOLE_MSG_SIZE 512

void console_queue_command(const char *buf);

#endif
```

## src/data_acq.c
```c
#include "data_acq.h"
#include "battery.h"
#include "https_handler.h"
#include "uart_handler.h"

#include <date_time.h>
#include <modem/modem_info.h>
#include <string.h>
#include <zephyr/logging/log.h>

#include <ctype.h>
#include <zephyr/kernel.h>

/* signal_strength, ip, iccid, imei, current_band, tracking_area_code,
 * device_cell_id */
#define NETWORK_PARAMS_DATA "%s,%s,%s,%s,%s,%s,%s"

static bool reset_reason_sent = false;

static char buff[1024];

/* Semaphore to get a reading. Initial value is 0 and max is 1 */
K_SEM_DEFINE(data_ready_sem, 0, 1);

#define MSG_SIZE 512

LOG_MODULE_REGISTER(data_acq, 3);

extern const struct device *const my_uart1;
extern char rx_buf[MSG_SIZE]; // receive buffer used in UART ISR callback
extern char clean_buff[MSG_SIZE];
static char uart_send[SEND_BUF_SIZE];
static char network_info[512];
extern char reset_reason_str[128];

extern struct k_msgq https_send_queue;

static void data_acq_timer_callback(struct k_timer *dummy);

K_SEM_DEFINE(data_acq_start_sem, 0, 1);

/* Data acq timer controls the periodicity, use this instead of sleep
 * for reliable timing and dutycycle */
K_TIMER_DEFINE(data_acq_timer, data_acq_timer_callback, NULL);
/* Data acq timer runs out and gives this sem to data acquisition
 * thread indicating it is time to sense
 *
 * start with a intial value of 1 so you don't wait dutycycle period for the first time
 */
K_SEM_DEFINE(time_to_sense_sem, 1, 1);

void data_acq_entry(void *a, void *b, void *c) {
        printk("Data thread starting...\n");

        /* Wait for the data_acq_start_sem.
         * data_acq_start_sem is given when we are connected to the
         * netowrk for the first time after boot.
         */
        k_sem_take(&data_acq_start_sem, K_FOREVER);
        k_timer_start(&data_acq_timer,
                      K_SECONDS(DEFAULT_DATA_ACQ_PERIODICITY),
                      K_SECONDS(DEFAULT_DATA_ACQ_PERIODICITY));

        while (1) {
                /* wait until timer goes off */
                k_sem_take(&time_to_sense_sem, K_FOREVER);

                printk("Request measurement from RG-15...\r\n");
                print_uart(my_uart1, "R\r\n");

                /* Let other threads run */
                k_sleep(K_MSEC(100));
        }
}

static int prepare_network_info(char *buf, uint32_t max_buf_len) {
        int ret;
        char signal_strength[16]    = {0};
        char ip[32]                 = {0};
        char iccid[32]              = {0};
        char imei[32]               = {0};
        char current_band[16]       = {0};
        char tracking_area_code[32] = {0};
        char device_cell_id[32]     = {0};

        /* Get modem information */
        modem_info_string_get(MODEM_INFO_RSRP, signal_strength, sizeof(signal_strength));
        modem_info_string_get(MODEM_INFO_IP_ADDRESS, ip, sizeof(ip));
        modem_info_string_get(MODEM_INFO_ICCID, iccid, sizeof(iccid));
        modem_info_string_get(MODEM_INFO_IMEI, imei, sizeof(imei));
        modem_info_string_get(MODEM_INFO_CUR_BAND, current_band, sizeof(current_band));
        modem_info_string_get(MODEM_INFO_AREA_CODE, tracking_area_code, sizeof(tracking_area_code));
        modem_info_string_get(MODEM_INFO_CELLID, device_cell_id, sizeof(device_cell_id));

        /* Format the network parameters string */
        ret = snprintf(buf,
                       max_buf_len,
                       NETWORK_PARAMS_DATA,
                       signal_strength,
                       ip,
                       iccid,
                       imei,
                       current_band,
                       tracking_area_code,
                       device_cell_id);

        return ret;
}

static void int64_to_str(int64_t num, char *str) {
        char temp[21];       // Temporary buffer to hold the reversed string
        int i           = 0; // Index for the temporary buffer
        int is_negative = 0; // Flag to indicate if the number is negative

        // Check if the number is negative
        if (num < 0) {
                is_negative = 1;
                num         = -num; // Make the number positive for processing
        }

        // Extract each digit and store it in the temporary buffer
        do {
                temp[i++] = (num % 10) + '0'; // Convert the digit to its ASCII representation
                num /= 10;
        } while (num > 0);

        // Add the negative sign if the number was negative
        if (is_negative) {
                temp[i++] = '-';
        }

        // Reverse the string into the final output buffer
        int j;
        for (j = 0; j < i; j++) {
                str[j] = temp[i - j - 1];
        }
        str[j] = '\0'; // Null-terminate the string
}

void parse_data_and_queue_https_message(void) {
        /* Acc 0.001 in, EventAcc 0.019 in, TotalAcc 0.019 in, RInt 0.082 iph */
        int idx = 0;
        char *data_ptr;
        int ret;
        char *buff_ptr;

        /* For the rg15 'Acc' is the first word in data string*/
        if (strstr(rx_buf, "Acc") == NULL) {
                return;
        }

        data_ptr = &rx_buf[0];
        memset(clean_buff, '\0', sizeof(clean_buff));
        /* parsing the data */
        while (*data_ptr != '\0' && idx < (sizeof(rx_buf) - 1)) {
                if ((*data_ptr != '\r') && (*data_ptr != '\n') && (*data_ptr != ' ')) {
                        if (isdigit(*data_ptr) || (*data_ptr == '.') || (*data_ptr == ',')) {
                                clean_buff[idx] = *data_ptr;
                                idx++;
                        }
                }
                data_ptr++;
        }
        clean_buff[idx] = '\0';

        printk("Parsed buffer is: %s\r\n", clean_buff);
        printf("Parsed buffer is: %s\r\n", clean_buff);
        // int batt_reading = battery_sample();

        uint16_t batt_reading = 0;
        ret                   = get_battery_voltage(&batt_reading);
        if (ret != 0) {
                printk("Failed to read battery voltage: %d\n", ret);
                return;
        }
        /* get network info */
        prepare_network_info(network_info, 512);
        printk("Network info: %s\n", network_info);

        int64_t time_now;
        char time_now_str[21] = {0};

        date_time_now(&time_now); /* P added this */
        int64_to_str(time_now, time_now_str);

        ret = snprintf(buff, sizeof(buff), DATA_ACQ_POST_PAYLOAD, time_now_str, clean_buff, batt_reading, network_info);
        if (!reset_reason_sent) {
		/* Append the reset reason string */
                buff_ptr = strncat(buff, reset_reason_str, 128);
        } else {
		/* pass as is */
		buff_ptr = buff;
	}
        ret = snprintf(uart_send,
                       sizeof(uart_send),
                       HTTPS_POST_REQUEST,
                       DATA_ACQ_HTTPS_TARGET,
                       DATA_ACQ_HTTPS_HOSTNAME,
                       DATA_ACQ_HTTPS_PORT,
                       ret,   // length of the payload
                       buff_ptr); // payload

        if (ret > 0 && k_msgq_put(&https_send_queue, uart_send, K_NO_WAIT) == 0) {
                printk("Successfully PARSED and QUEUED from UART thread to HTTPS thread: "
                       "\n%s\n",
                       uart_send);
        };
}

int data_acq_init(void) {
        printk("Force rebooting RG-15...\r\n");
        print_uart(my_uart1, "K\n");
        /* Give it a couple of seconds after reboot */
        k_busy_wait(3 * 1000 * 1000);
        // printk("Putting rg15 into poll mode...\r\n");
        // print_uart(my_uart1, "P\r\n");
        // k_busy_wait(1 * 1000 * 1000);
        printk("Set rg15 into continuous mode...\r\n");
        print_uart(my_uart1, "C\r\n");
        k_busy_wait(1 * 1000 * 1000);

        return 0;
}

void data_acq_timer_callback(struct k_timer *dummy) {
        k_sem_give(&time_to_sense_sem);
}
```

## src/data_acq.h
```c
#ifndef DATA_ACQ_H
#define DATA_ACQ_H

#define DATA_ACQ_HTTPS_HOSTNAME "ngens.environmentalcrossroads.net"
#define DATA_ACQ_HTTPS_PORT     "443"
#define DATA_ACQ_HTTPS_TARGET   "/nodered/globe"

/* Timestamp, Cleaned RRG-15 data, Battery mVolts, Netowrk info */
#define DATA_ACQ_POST_PAYLOAD                                                                                          \
        "{"                                                                                                            \
        "\"msg_type\":\"data_acq\","                                                                                   \
        "\"values\":\"%s,%s,%d,%s\""                                                                                   \
        "}"

#define CFG_POST_PAYLOAD                                                                                               \
        "{"                                                                                                            \
        "\"msg_type\":\"cfg\","                                                                                        \
        "\"rst_reas\": \"%s\","                                                                                        \
        "\"app_fw_ver\": \"%s\","                                                                                      \
        "\"modem_fw_ver\": \"%s\","                                                                                    \
        "}"

#define DEFAULT_DATA_ACQ_PERIODICITY 60 // 1 minutes

void parse_data_and_queue_https_message(void);
int data_acq_init(void);

#endif
```

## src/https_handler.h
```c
#ifndef HTTPS_HANDLER_H
#define HTTPS_HANDLER_H

#define HTTPS_POST_REQUEST                                              	     \
        "POST %s HTTP/1.1\r\n"                                                       \
        "Host: %s:%s\r\n"                                                            \
        "Connection: close\r\n"                                                      \
        "Authorization: Basic bmdlbnNhZG1pbjpONjNuNWFkbTFu \r\n"                      \
        "Content-Type: application/json\r\n"                                         \
        "Content-Length: %d\r\n"                                                     \
        "\r\n"                                                                       \
        "%s\r\n\r\n"

#define RECV_BUF_SIZE 2048
#define SEND_BUF_SIZE 2048
#define TLS_SEC_TAG 2334
#define DATA_BUF_SIZE 2048

int https_init(void);

#endif
```

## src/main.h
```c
#ifndef _MAIN_H__
#define _MAIN_H__

#define APP_FW_VERSION "v0.0.8"

#endif
```

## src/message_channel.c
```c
/*
 * Copyright (c) 2023 Nordic Semiconductor ASA
 *
 * SPDX-License-Identifier: LicenseRef-Nordic-5-Clause
 */

#include <zephyr/kernel.h>
#include <zephyr/logging/log.h>
#include <zephyr/zbus/zbus.h>

#include "message_channel.h"

LOG_MODULE_REGISTER(message_channel, CONFIG_LOG_DEFAULT_LEVEL);

void error_callback(const struct zbus_channel *chan);

ZBUS_LISTENER_DEFINE(error, error_callback);

/* HTTPS thread attempts to clear any
 * outstanding messages upon receiving a trigger
 */
ZBUS_CHAN_DEFINE(HTTPS_TRIGGER_CHAN,                  /* Name */
                 int,                                 /* Message type */
                 NULL,                                /* Validator */
                 NULL,                                /* User data */
                 ZBUS_OBSERVERS(mqtt_thread_channel), /* Observers */
                 ZBUS_MSG_INIT(0)                     /* Initial value {0} */
);

/* LTE handler thread updates LTE conn status so that HTTPS thread
 * can update it's internal state accordingly.
 */
ZBUS_CHAN_DEFINE(NETWORK_CHAN,                        /* Name */
                 enum network_status,                 /* Message type */
                 NULL,                                /* Validator */
                 NULL,                                /* User data */
                 ZBUS_OBSERVERS(mqtt_thread_channel), /* Observers */
                 ZBUS_MSG_INIT(0)                     /* Initial value {0} */
);

/* Reboots the system in case of a fatal failure
 */
ZBUS_CHAN_DEFINE(FATAL_ERROR_CHAN,      /* Name */
                 int,                   /* Message type */
                 NULL,                  /* Validator */
                 NULL,                  /* User data */
                 ZBUS_OBSERVERS(error), /* Observers */
                 ZBUS_MSG_INIT(0)       /* Initial value {0} */
);

void error_callback(const struct zbus_channel *chan) {
        if (&FATAL_ERROR_CHAN == chan) {
                if (IS_ENABLED(CONFIG_HTTPS_SAMPLE_ERROR_REBOOT_ON_FATAL)) {
                        printk("FATAL error, rebooting");
                        LOG_PANIC();
                        sys_reboot(0);
                }
        }
}
```

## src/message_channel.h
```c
#ifndef MESSAGE_CHANNEL_H__
#define MESSAGE_CHANNEL_H__

#include <zephyr/kernel.h>
#include <zephyr/logging/log_ctrl.h>
#include <zephyr/sys/reboot.h>
#include <zephyr/zbus/zbus.h>

ZBUS_CHAN_DECLARE(MQTT_TRIGGER_CHAN, NETWORK_CHAN, FATAL_ERROR_CHAN);

/** @brief Macro used to send a message on the FATAL_ERROR_CHANNEL.
 *	   The message will be handled in the error module.
 */
#define SEND_FATAL_ERROR()                                                                         \
        int not_used = -1;                                                                         \
        if (zbus_chan_pub(&FATAL_ERROR_CHAN, &not_used, K_SECONDS(10))) {                          \
                printk("Sending a message on the fatal error channel failed, rebooting");          \
                LOG_PANIC();                                                                       \
                IF_ENABLED(CONFIG_REBOOT, (sys_reboot(0)));                                        \
        }

enum network_status {
        NETWORK_DISCONNECTED,
        NETWORK_CONNECTED,
};

#endif
```
